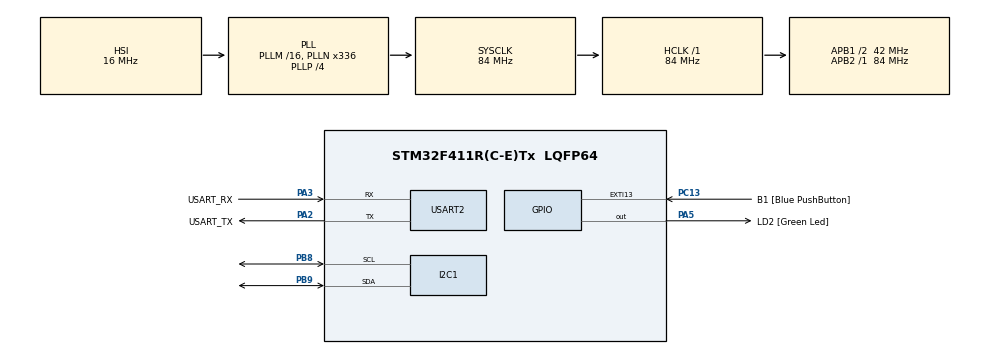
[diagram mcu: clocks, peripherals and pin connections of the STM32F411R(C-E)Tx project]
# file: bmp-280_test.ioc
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Mcu.Family=STM32F4
Mcu.Name=STM32F411R(C-E)Tx
Mcu.Package=LQFP64
NVIC.PriorityGroup=NVIC_PRIORITYGROUP_0
PA13.GPIO_Label=TMS
PA13.Mode=Serial_Wire
PA13.Signal=SYS_JTMS-SWDIO
PA14.GPIO_Label=TCK
PA14.Mode=Serial_Wire
PA14.Signal=SYS_JTCK-SWCLK
PA2.GPIO_Label=USART_TX
PA2.Mode=Asynchronous
PA2.Signal=USART2_TX
PA3.GPIO_Label=USART_RX
PA3.Mode=Asynchronous
PA3.Signal=USART2_RX
PA5.GPIO_Label=LD2 [Green Led]
PA5.Signal=GPIO_Output
PB3.GPIO_Label=SWO
PB3.Signal=SYS_JTDO-SWO
PB8.Mode=I2C
PB8.Signal=I2C1_SCL
PB9.Mode=I2C
PB9.Signal=I2C1_SDA
PC13-ANTI_TAMP.GPIO_Label=B1 [Blue PushButton]
PC13-ANTI_TAMP.GPIO_ModeDefaultEXTI=GPIO_MODE_IT_FALLING
PC13-ANTI_TAMP.Signal=GPXTI13
PC14-OSC32_IN.Mode=LSE-External-Oscillator
PC14-OSC32_IN.Signal=RCC_OSC32_IN
PC15-OSC32_OUT.Mode=LSE-External-Oscillator
PC15-OSC32_OUT.Signal=RCC_OSC32_OUT
PH0\ -\ OSC_IN.Mode=HSE-External-Clock-Source
PH0\ -\ OSC_IN.Signal=RCC_OSC_IN
PH1\ -\ OSC_OUT.Mode=HSE-External-Clock-Source
PH1\ -\ OSC_OUT.Signal=RCC_OSC_OUT
ProjectManager.HeapSize=0x200
ProjectManager.StackSize=0x400
ProjectManager.TargetToolchain=STM32CubeIDE
RCC.48MHZClocksFreq_Value=84000000
RCC.AHBFreq_Value=84000000
RCC.APB1CLKDivider=RCC_HCLK_DIV2
RCC.APB1Freq_Value=42000000
RCC.APB1TimFreq_Value=84000000
RCC.APB2Freq_Value=84000000
RCC.APB2TimFreq_Value=84000000
RCC.CortexFreq_Value=84000000
RCC.FLatency-AdvancedSettings=FLASH_LATENCY_2
RCC.HCLKFreq_Value=84000000
RCC.HSE_VALUE=8000000
RCC.HSI_VALUE=16000000
RCC.PLLN=336
RCC.PLLP=RCC_PLLP_DIV4
RCC.SYSCLKFreq_VALUE=84000000
RCC.SYSCLKSource=RCC_SYSCLKSOURCE_PLLCLK
RCC.VCOOutputFreq_Value=336000000
USART2.VirtualMode=VM_ASYNC
board=NUCLEO-F411RE

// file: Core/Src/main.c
/* USER CODE BEGIN Header */
/**
  ******************************************************************************
  * @file           : main.c
  * @brief          : Main program body
  ******************************************************************************
  * @attention
  *
  * Copyright (c) 2023 STMicroelectronics.
  * All rights reserved.
  *
  * This software is licensed under terms that can be found in the LICENSE file
  * in the root directory of this software component.
  * If no LICENSE file comes with this software, it is provided AS-IS.
  *
  ******************************************************************************
  */
/* USER CODE END Header */
#include "main.h"
#include "stm32f4xx_hal.h"
/* USER CODE BEGIN Includes */
#include "BMP280/bmp280.h"
/* USER CODE END Includes */

/* USER CODE BEGIN PTD */
BMP280_HandleTypedef bmp280;

float pressure, temperature, humidity;

uint16_t size;
uint8_t data[100];

/* USER CODE END PTD */

I2C_HandleTypeDef hi2c1;

UART_HandleTypeDef huart2;

void SystemClock_Config(void);
static void MX_GPIO_Init(void);
static void MX_USART2_UART_Init(void);
static void MX_I2C1_Init(void);

int main(void)
{

  /* MCU Configuration--------------------------------------------------------*/

  /* Reset of all peripherals, Initializes the Flash interface and the Systick. */
  HAL_Init();

  /* Configure the system clock */
  SystemClock_Config();

  /* Initialize all configured peripherals */
  MX_GPIO_Init();
  MX_USART2_UART_Init();
  MX_I2C1_Init();
  /* USER CODE BEGIN 2 */
   bmp280_init_default_params(&bmp280.params);
   bmp280.addr = BMP280_I2C_ADDRESS_0;
   bmp280.i2c = &hi2c1;

   while(!bmp280_init(&bmp280, &bmp280.params)){
	   size = sprintf((char *)data,"BMP280 Failed\r\n");
	   HAL_UART_Transmit(&huart2,data, size, 1000);
	   HAL_Delay(2000);
   }
   bool bme280p = bmp280.id == BME280_CHIP_ID;
   size = sprintf((char *)data, "BMP280 Found: %s\r\n", bme280p ? "BME280" : "BMP280");
   HAL_UART_Transmit(&huart2, data, size, 1000);

  /* USER CODE END 2 */

  /* Infinite loop */
  while (1)
  {
   HAL_Delay(100);
   while(!bmp280_read_float(&bmp280, &temperature, &pressure, &humidity)){
	   size = sprintf((char *)data,"TEMPER,HUMI Failed\r\n");
	   HAL_UART_Transmit(&huart2, data, size, 1000);
	   HAL_Delay(2000);
   }
   size = sprintf((char *)data, "pressure:%f pa, Temperature: %f C", pressure, temperature);
   HAL_UART_Transmit (&huart2, data, size, 1000);
   if(bme280p){
     size = sprintf((char *)data, "humidity: %.2f\r\n",humidity);
	   HAL_UART_Transmit (&huart2, data, size, 1000);
   }
   else{
	   size = sprintf((char *)data,"\r\n");
	   HAL_UART_Transmit (&huart2, data, size, 1000);
   }
    HAL_Delay(2000);
  }
}

void SystemClock_Config(void)
{
  RCC_OscInitTypeDef RCC_OscInitStruct = {0};
  RCC_ClkInitTypeDef RCC_ClkInitStruct = {0};

  /** Configure the main internal regulator output voltage
  */
  __HAL_RCC_PWR_CLK_ENABLE();
  __HAL_PWR_VOLTAGESCALING_CONFIG(PWR_REGULATOR_VOLTAGE_SCALE1);

  /** Initializes the RCC Oscillators according to the specified parameters
  * in the RCC_OscInitTypeDef structure.
  */
  RCC_OscInitStruct.OscillatorType = RCC_OSCILLATORTYPE_HSI;
  RCC_OscInitStruct.HSIState = RCC_HSI_ON;
  RCC_OscInitStruct.HSICalibrationValue = RCC_HSICALIBRATION_DEFAULT;
  RCC_OscInitStruct.PLL.PLLState = RCC_PLL_ON;
  RCC_OscInitStruct.PLL.PLLSource = RCC_PLLSOURCE_HSI;
  RCC_OscInitStruct.PLL.PLLM = 16;
  RCC_OscInitStruct.PLL.PLLN = 336;
  RCC_OscInitStruct.PLL.PLLP = RCC_PLLP_DIV4;
  RCC_OscInitStruct.PLL.PLLQ = 4;
  if (HAL_RCC_OscConfig(&RCC_OscInitStruct) != HAL_OK)
  {
    Error_Handler();
  }

  /** Initializes the CPU, AHB and APB buses clocks
  */
  RCC_ClkInitStruct.ClockType = RCC_CLOCKTYPE_HCLK|RCC_CLOCKTYPE_SYSCLK
                              |RCC_CLOCKTYPE_PCLK1|RCC_CLOCKTYPE_PCLK2;
  RCC_ClkInitStruct.SYSCLKSource = RCC_SYSCLKSOURCE_PLLCLK;
  RCC_ClkInitStruct.AHBCLKDivider = RCC_SYSCLK_DIV1;
  RCC_ClkInitStruct.APB1CLKDivider = RCC_HCLK_DIV2;
  RCC_ClkInitStruct.APB2CLKDivider = RCC_HCLK_DIV1;

  if (HAL_RCC_ClockConfig(&RCC_ClkInitStruct, FLASH_LATENCY_2) != HAL_OK)
  {
    Error_Handler();
  }
}

static void MX_I2C1_Init(void)
{

  hi2c1.Instance = I2C1;
  hi2c1.Init.ClockSpeed = 100000;
  hi2c1.Init.DutyCycle = I2C_DUTYCYCLE_2;
  hi2c1.Init.OwnAddress1 = 0;
  hi2c1.Init.AddressingMode = I2C_ADDRESSINGMODE_7BIT;
  hi2c1.Init.DualAddressMode = I2C_DUALADDRESS_DISABLE;
  hi2c1.Init.OwnAddress2 = 0;
  hi2c1.Init.GeneralCallMode = I2C_GENERALCALL_DISABLE;
  hi2c1.Init.NoStretchMode = I2C_NOSTRETCH_DISABLE;
  if (HAL_I2C_Init(&hi2c1) != HAL_OK)
  {
    Error_Handler();
  }

}

static void MX_USART2_UART_Init(void)
{

  huart2.Instance = USART2;
  huart2.Init.BaudRate = 115200;
  huart2.Init.WordLength = UART_WORDLENGTH_8B;
  huart2.Init.StopBits = UART_STOPBITS_1;
  huart2.Init.Parity = UART_PARITY_NONE;
  huart2.Init.Mode = UART_MODE_TX_RX;
  huart2.Init.HwFlowCtl = UART_HWCONTROL_NONE;
  huart2.Init.OverSampling = UART_OVERSAMPLING_16;
  if (HAL_UART_Init(&huart2) != HAL_OK)
  {
    Error_Handler();
  }

}

static void MX_GPIO_Init(void)
{
  GPIO_InitTypeDef GPIO_InitStruct = {0};

  /* GPIO Ports Clock Enable */
  __HAL_RCC_GPIOC_CLK_ENABLE();
  __HAL_RCC_GPIOH_CLK_ENABLE();
  __HAL_RCC_GPIOA_CLK_ENABLE();
  __HAL_RCC_GPIOB_CLK_ENABLE();

  /*Configure GPIO pin Output Level */
  HAL_GPIO_WritePin(LD2_GPIO_Port, LD2_Pin, GPIO_PIN_RESET);

  /*Configure GPIO pin : B1_Pin */
  GPIO_InitStruct.Pin = B1_Pin;
  GPIO_InitStruct.Mode = GPIO_MODE_IT_FALLING;
  GPIO_InitStruct.Pull = GPIO_NOPULL;
  HAL_GPIO_Init(B1_GPIO_Port, &GPIO_InitStruct);

  /*Configure GPIO pin : LD2_Pin */
  GPIO_InitStruct.Pin = LD2_Pin;
  GPIO_InitStruct.Mode = GPIO_MODE_OUTPUT_PP;
  GPIO_InitStruct.Pull = GPIO_NOPULL;
  GPIO_InitStruct.Speed = GPIO_SPEED_FREQ_LOW;
  HAL_GPIO_Init(LD2_GPIO_Port, &GPIO_InitStruct);

}

void Error_Handler(void)
{
  __disable_irq();
  while (1)
  {
  }
}
